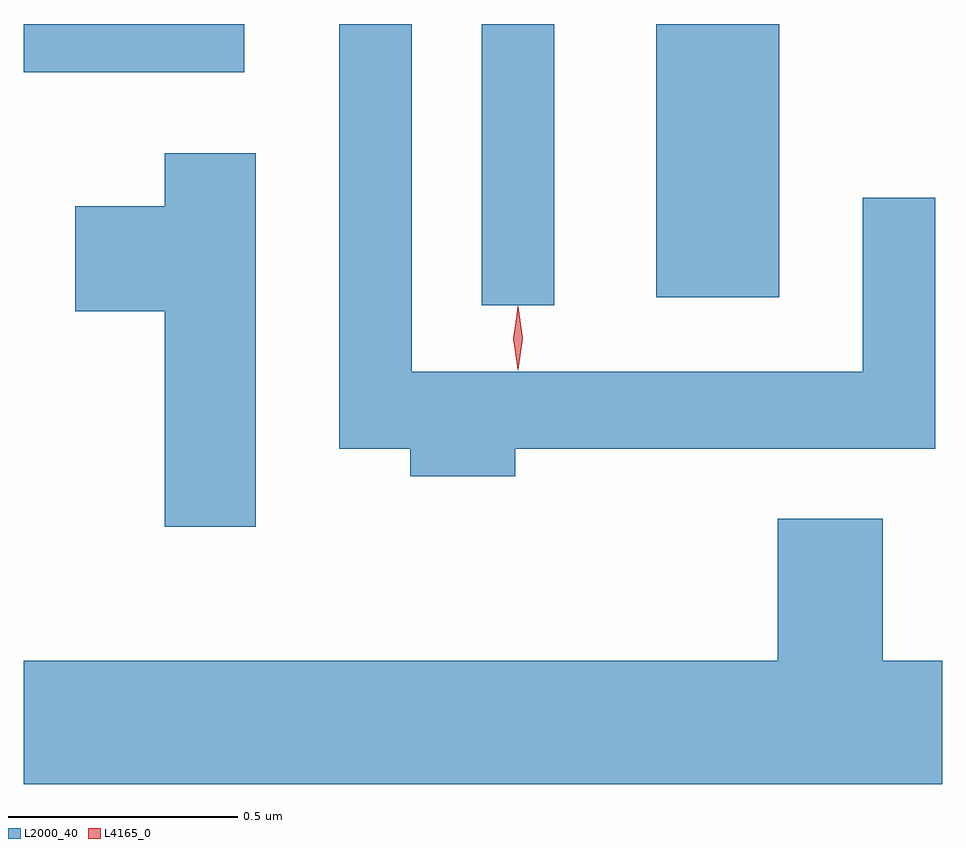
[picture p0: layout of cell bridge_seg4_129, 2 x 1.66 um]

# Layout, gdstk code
import gdstk
lib = gdstk.Library(unit=1e-6, precision=1e-09)
def R(c, l, rs):  # rectangles x0, y0, x1, y1
    for r in rs: c.add(gdstk.rectangle(r[:2], r[2:], *l))
def P(c, l, *ps):  # polygons
    for p in ps: c.add(gdstk.Polygon(p, *l))
L2000_40 = (2000, 40)
L4165_0 = (4165, 0)

bridge_seg4_129 = lib.new_cell('bridge_seg4_129')
R(bridge_seg4_129, L2000_40, [(911.216,1300.218,911.374,1300.831), (911.596,1300.236,911.864,1300.831), (910.219,1300.726,910.699,1300.831)])
P(bridge_seg4_129, L2000_40, [(911.289,1299.906),(912.204,1299.906),(912.204,1300.453),(912.046,1300.453),(912.046,1300.074),(911.064,1300.074),(911.064,1300.831),(910.906,1300.831),(910.906,1299.906),(911.061,1299.906),(911.061,1299.846),(911.289,1299.846)],
  [(910.724,1300.549),(910.526,1300.549),(910.526,1300.434),(910.331,1300.434),(910.331,1300.206),(910.526,1300.206),(910.526,1299.736),(910.724,1299.736)],
  [(912.219,1299.444),(912.089,1299.444),(912.089,1299.754),(911.861,1299.754),(911.861,1299.444),(910.219,1299.444),(910.219,1299.176),(912.219,1299.176)])
P(bridge_seg4_129, L4165_0, [(911.295,1300.079),(911.295,1300.08),(911.285,1300.146),(911.295,1300.212),(911.295,1300.213),(911.296,1300.212),(911.305,1300.146),(911.296,1300.08)],
  [(911.296,1300.077),(911.295,1300.078),(911.286,1300.147),(911.295,1300.216),(911.296,1300.216),(911.296,1300.216),(911.306,1300.147),(911.296,1300.078)])

lib.write_gds('bridge_seg4_129.gds')
